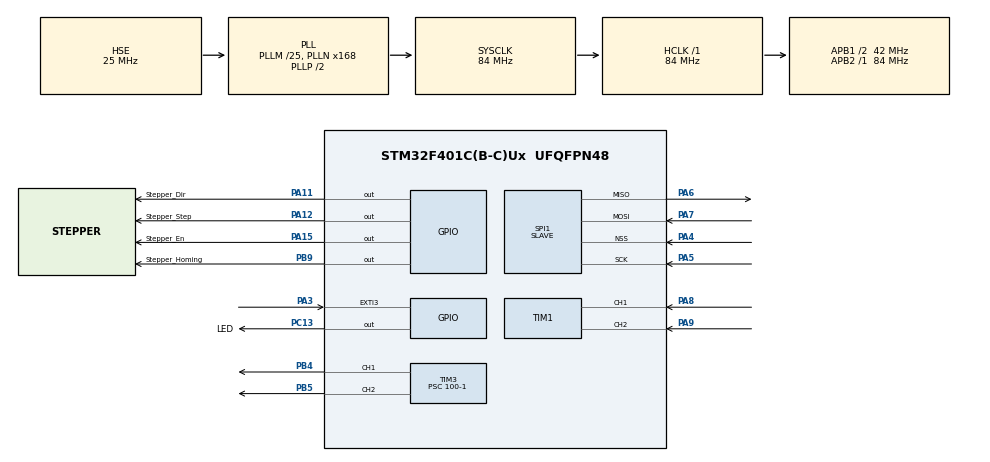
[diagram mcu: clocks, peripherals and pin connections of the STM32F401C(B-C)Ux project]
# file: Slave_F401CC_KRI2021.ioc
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Dma.Request0=SPI1_RX
Dma.SPI1_RX.0.Direction=DMA_PERIPH_TO_MEMORY
Dma.SPI1_RX.0.FIFOMode=DMA_FIFOMODE_DISABLE
Dma.SPI1_RX.0.Instance=DMA2_Stream0
Dma.SPI1_RX.0.MemDataAlignment=DMA_MDATAALIGN_BYTE
Dma.SPI1_RX.0.MemInc=DMA_MINC_ENABLE
Dma.SPI1_RX.0.Mode=DMA_NORMAL
Dma.SPI1_RX.0.PeriphDataAlignment=DMA_PDATAALIGN_BYTE
Dma.SPI1_RX.0.PeriphInc=DMA_PINC_DISABLE
Dma.SPI1_RX.0.Priority=DMA_PRIORITY_VERY_HIGH
Mcu.Family=STM32F4
Mcu.Name=STM32F401C(B-C)Ux
Mcu.Package=UFQFPN48
NVIC.DMA2_Stream0_IRQn=true\:0\:0\:false\:false\:true\:false\:true\:true
NVIC.PriorityGroup=NVIC_PRIORITYGROUP_4
PA11.GPIO_Label=Stepper_Dir
PA11.Signal=GPIO_Output
PA12.GPIO_Label=Stepper_Step
PA12.Signal=GPIO_Output
PA13.Mode=Serial_Wire
PA13.Signal=SYS_JTMS-SWDIO
PA14.Mode=Serial_Wire
PA14.Signal=SYS_JTCK-SWCLK
PA15.GPIO_Label=Stepper_En
PA15.Signal=GPIO_Output
PA3.GPIO_ModeDefaultEXTI=GPIO_MODE_IT_FALLING
PA3.Signal=GPXTI3
PA4.Mode=NSS_Signal_Hard_Input
PA4.Signal=SPI1_NSS
PA5.Mode=Full_Duplex_Slave
PA5.Signal=SPI1_SCK
PA6.Mode=Full_Duplex_Slave
PA6.Signal=SPI1_MISO
PA7.Mode=Full_Duplex_Slave
PA7.Signal=SPI1_MOSI
PA8.GPIO_PuPd=GPIO_PULLUP
PA8.Signal=S_TIM1_CH1
PA9.GPIO_PuPd=GPIO_PULLUP
PA9.Signal=S_TIM1_CH2
PB4.Signal=S_TIM3_CH1
PB5.Signal=S_TIM3_CH2
PB9.GPIO_Label=Stepper_Homing
PB9.Signal=GPIO_Output
PC13-ANTI_TAMP.GPIO_Label=LED
PC13-ANTI_TAMP.Signal=GPIO_Output
PH0\ -\ OSC_IN.Mode=HSE-External-Oscillator
PH0\ -\ OSC_IN.Signal=RCC_OSC_IN
PH1\ -\ OSC_OUT.Mode=HSE-External-Oscillator
PH1\ -\ OSC_OUT.Signal=RCC_OSC_OUT
ProjectManager.HeapSize=0x200
ProjectManager.StackSize=0x400
ProjectManager.TargetToolchain=STM32CubeIDE
RCC.48MHZClocksFreq_Value=42000000
RCC.AHBFreq_Value=84000000
RCC.APB1CLKDivider=RCC_HCLK_DIV2
RCC.APB1Freq_Value=42000000
RCC.APB1TimFreq_Value=84000000
RCC.APB2Freq_Value=84000000
RCC.APB2TimFreq_Value=84000000
RCC.CortexFreq_Value=84000000
RCC.HCLKFreq_Value=84000000
RCC.HSE_VALUE=25000000
RCC.HSI_VALUE=16000000
RCC.LSE_VALUE=32768
RCC.PLLM=25
RCC.PLLN=168
RCC.PLLSourceVirtual=RCC_PLLSOURCE_HSE
RCC.SYSCLKFreq_VALUE=84000000
RCC.SYSCLKSource=RCC_SYSCLKSOURCE_PLLCLK
RCC.VCOOutputFreq_Value=168000000
SH.S_TIM1_CH1.0=TIM1_CH1,Encoder_Interface
SH.S_TIM1_CH2.0=TIM1_CH2,Encoder_Interface
SH.S_TIM3_CH1.0=TIM3_CH1,PWM Generation1 CH1
SH.S_TIM3_CH2.0=TIM3_CH2,PWM Generation2 CH2
SPI1.Direction=SPI_DIRECTION_2LINES
SPI1.Mode=SPI_MODE_SLAVE
SPI1.VirtualNSS=VM_NSSHARD
SPI1.VirtualType=VM_SLAVE
TIM3.Channel-PWM\ Generation1\ CH1=TIM_CHANNEL_1
TIM3.Channel-PWM\ Generation2\ CH2=TIM_CHANNEL_2
TIM3.Period=1000-1
TIM3.Prescaler=100-1
TIM9.Period=0xffff-1
TIM9.Prescaler=84-1
VP_TIM9_VS_ClockSourceINT.Mode=Internal
board=custom

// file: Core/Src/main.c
/* USER CODE BEGIN Header */
/**
  ******************************************************************************
  * @file           : main.c
  * @brief          : Main program body
  ******************************************************************************
  * @attention
  *
  * <h2><center>&copy; Copyright (c) 2021 STMicroelectronics.
  * All rights reserved.</center></h2>
  *
  * This software component is licensed by ST under BSD 3-Clause license,
  * the "License"; You may not use this file except in compliance with the
  * License. You may obtain a copy of the License at:
  *                        opensource.org/licenses/BSD-3-Clause
  *
  ******************************************************************************
  */
/* USER CODE END Header */
#include "main.h"

SPI_HandleTypeDef hspi1;
DMA_HandleTypeDef hdma_spi1_rx;

TIM_HandleTypeDef htim1;
TIM_HandleTypeDef htim3;
TIM_HandleTypeDef htim9;

/* USER CODE BEGIN PV */
volatile int32_t tim1_cnt=0;
volatile uint32_t direction;
volatile uint8_t bufferRx[4], bufferTX[9];
volatile uint8_t terima;
int16_t  e, laste, out, lastpos, ki=0, kp=10, kd=0, setPoint, kecmax=400, kecmin=60, Step=1064;
uint8_t pwm_maju, pwm_mundur, flag = 0, belok = 0, dir;
/* USER CODE END PV */

void SystemClock_Config(void);
static void MX_GPIO_Init(void);
static void MX_DMA_Init(void);
static void MX_SPI1_Init(void);
static void MX_TIM1_Init(void);
static void MX_TIM3_Init(void);
static void MX_TIM9_Init(void);
/* USER CODE BEGIN PFP */
void unpacking(SPI_HandleTypeDef *hspi);

/* USER CODE END PFP */

int main(void)
{
  /* USER CODE BEGIN 1 */
void delay(uint16_t delay){
__HAL_TIM_SET_COUNTER(&htim9, 0);
while(__HAL_TIM_GET_COUNTER(&htim9) < delay);
}
  /* USER CODE END 1 */

  /* MCU Configuration--------------------------------------------------------*/

  /* Reset of all peripherals, Initializes the Flash interface and the Systick. */
  HAL_Init();

  /* Configure the system clock */
  SystemClock_Config();

  /* Initialize all configured peripherals */
  MX_GPIO_Init();
  MX_DMA_Init();
  MX_SPI1_Init();
  MX_TIM1_Init();
  MX_TIM3_Init();
  MX_TIM9_Init();
  /* USER CODE BEGIN 2 */
  HAL_TIM_Encoder_Start(&htim1, TIM_CHANNEL_ALL);
  HAL_TIM_PWM_Start(&htim3, TIM_CHANNEL_1);
  HAL_TIM_PWM_Start(&htim3, TIM_CHANNEL_2);

  HAL_SPI_Receive_DMA(&hspi1, (uint8_t*)&bufferRx, 9);
  /* USER CODE END 2 */

  /* Infinite loop */
  while (1)
  {

    /* USER CODE BEGIN 3 */

	  if(belok == 1 && flag == 1){
	  HAL_GPIO_WritePin(Stepper_Dir_GPIO_Port, Stepper_Dir_Pin, GPIO_PIN_SET);
	  for(uint16_t x=0; x<1064/4; x++){
		  HAL_GPIO_WritePin(Stepper_Step_GPIO_Port, Stepper_Step_Pin, GPIO_PIN_SET);
		  HAL_Delay(1);
		  HAL_GPIO_WritePin(Stepper_Step_GPIO_Port, Stepper_Step_Pin, GPIO_PIN_RESET);
		  HAL_Delay(1);
	  	  }
	  flag = 2;
	  }

	  if(belok == 2 && flag == 2){
	  	  HAL_GPIO_WritePin(Stepper_Dir_GPIO_Port, Stepper_Dir_Pin, GPIO_PIN_RESET);
	  	  for(uint16_t x=0; x<1064/4; x++){
	  		  HAL_GPIO_WritePin(Stepper_Step_GPIO_Port, Stepper_Step_Pin, GPIO_PIN_SET);
	  		  HAL_Delay(1);
	  		  HAL_GPIO_WritePin(Stepper_Step_GPIO_Port, Stepper_Step_Pin, GPIO_PIN_RESET);
	  		  HAL_Delay(1);
	  	  	  }
	  	  flag = 1;
	  	  }

	  tim1_cnt = htim1.Instance -> CNT;
	  direction = !(__HAL_TIM_IS_TIM_COUNTING_DOWN(&htim1));

	  e = setPoint - tim1_cnt;
	  out = (kp * e) + (ki * (e + laste)) + (kd * (e - laste));
	  laste = e;

	  if (e>0){
		  pwm_maju = out;
		  if(pwm_maju>kecmax) pwm_maju = kecmax;
		  if(pwm_maju<kecmin) pwm_maju = kecmin;
		  pwm_mundur = 0;
		  htim3.Instance->CCR1 = pwm_maju;
		  htim3.Instance->CCR2 = 0;
	  }
	  else if (e<0){
		  pwm_mundur = -out;
		  if(pwm_mundur>kecmax) pwm_mundur = kecmax;
		  if(pwm_mundur<kecmin) pwm_mundur = kecmin;
		  pwm_maju = 0;
		  htim3.Instance->CCR1 = 0;
		  htim3.Instance->CCR2 = pwm_mundur;
	  }
	  else{
		  htim3.Instance->CCR1 = 0;
		  htim3.Instance->CCR2 = 0;
	  }

  }

  /* USER CODE END 3 */
}

void SystemClock_Config(void)
{
  RCC_OscInitTypeDef RCC_OscInitStruct = {0};
  RCC_ClkInitTypeDef RCC_ClkInitStruct = {0};

  /** Configure the main internal regulator output voltage
  */
  __HAL_RCC_PWR_CLK_ENABLE();
  __HAL_PWR_VOLTAGESCALING_CONFIG(PWR_REGULATOR_VOLTAGE_SCALE2);
  /** Initializes the RCC Oscillators according to the specified parameters
  * in the RCC_OscInitTypeDef structure.
  */
  RCC_OscInitStruct.OscillatorType = RCC_OSCILLATORTYPE_HSE;
  RCC_OscInitStruct.HSEState = RCC_HSE_ON;
  RCC_OscInitStruct.PLL.PLLState = RCC_PLL_ON;
  RCC_OscInitStruct.PLL.PLLSource = RCC_PLLSOURCE_HSE;
  RCC_OscInitStruct.PLL.PLLM = 25;
  RCC_OscInitStruct.PLL.PLLN = 168;
  RCC_OscInitStruct.PLL.PLLP = RCC_PLLP_DIV2;
  RCC_OscInitStruct.PLL.PLLQ = 4;
  if (HAL_RCC_OscConfig(&RCC_OscInitStruct) != HAL_OK)
  {
    Error_Handler();
  }
  /** Initializes the CPU, AHB and APB buses clocks
  */
  RCC_ClkInitStruct.ClockType = RCC_CLOCKTYPE_HCLK|RCC_CLOCKTYPE_SYSCLK
                              |RCC_CLOCKTYPE_PCLK1|RCC_CLOCKTYPE_PCLK2;
  RCC_ClkInitStruct.SYSCLKSource = RCC_SYSCLKSOURCE_PLLCLK;
  RCC_ClkInitStruct.AHBCLKDivider = RCC_SYSCLK_DIV1;
  RCC_ClkInitStruct.APB1CLKDivider = RCC_HCLK_DIV2;
  RCC_ClkInitStruct.APB2CLKDivider = RCC_HCLK_DIV1;

  if (HAL_RCC_ClockConfig(&RCC_ClkInitStruct, FLASH_LATENCY_2) != HAL_OK)
  {
    Error_Handler();
  }
}

static void MX_SPI1_Init(void)
{

  /* SPI1 parameter configuration*/
  hspi1.Instance = SPI1;
  hspi1.Init.Mode = SPI_MODE_SLAVE;
  hspi1.Init.Direction = SPI_DIRECTION_2LINES;
  hspi1.Init.DataSize = SPI_DATASIZE_8BIT;
  hspi1.Init.CLKPolarity = SPI_POLARITY_LOW;
  hspi1.Init.CLKPhase = SPI_PHASE_1EDGE;
  hspi1.Init.NSS = SPI_NSS_HARD_INPUT;
  hspi1.Init.FirstBit = SPI_FIRSTBIT_MSB;
  hspi1.Init.TIMode = SPI_TIMODE_DISABLE;
  hspi1.Init.CRCCalculation = SPI_CRCCALCULATION_DISABLE;
  hspi1.Init.CRCPolynomial = 10;
  if (HAL_SPI_Init(&hspi1) != HAL_OK)
  {
    Error_Handler();
  }

}

static void MX_TIM1_Init(void)
{

  TIM_Encoder_InitTypeDef sConfig = {0};
  TIM_MasterConfigTypeDef sMasterConfig = {0};

  htim1.Instance = TIM1;
  htim1.Init.Prescaler = 0;
  htim1.Init.CounterMode = TIM_COUNTERMODE_UP;
  htim1.Init.Period = 65535;
  htim1.Init.ClockDivision = TIM_CLOCKDIVISION_DIV1;
  htim1.Init.RepetitionCounter = 0;
  htim1.Init.AutoReloadPreload = TIM_AUTORELOAD_PRELOAD_DISABLE;
  sConfig.EncoderMode = TIM_ENCODERMODE_TI1;
  sConfig.IC1Polarity = TIM_ICPOLARITY_RISING;
  sConfig.IC1Selection = TIM_ICSELECTION_DIRECTTI;
  sConfig.IC1Prescaler = TIM_ICPSC_DIV1;
  sConfig.IC1Filter = 0;
  sConfig.IC2Polarity = TIM_ICPOLARITY_RISING;
  sConfig.IC2Selection = TIM_ICSELECTION_DIRECTTI;
  sConfig.IC2Prescaler = TIM_ICPSC_DIV1;
  sConfig.IC2Filter = 0;
  if (HAL_TIM_Encoder_Init(&htim1, &sConfig) != HAL_OK)
  {
    Error_Handler();
  }
  sMasterConfig.MasterOutputTrigger = TIM_TRGO_RESET;
  sMasterConfig.MasterSlaveMode = TIM_MASTERSLAVEMODE_DISABLE;
  if (HAL_TIMEx_MasterConfigSynchronization(&htim1, &sMasterConfig) != HAL_OK)
  {
    Error_Handler();
  }

}

static void MX_TIM3_Init(void)
{

  TIM_MasterConfigTypeDef sMasterConfig = {0};
  TIM_OC_InitTypeDef sConfigOC = {0};

  htim3.Instance = TIM3;
  htim3.Init.Prescaler = 100-1;
  htim3.Init.CounterMode = TIM_COUNTERMODE_UP;
  htim3.Init.Period = 1000-1;
  htim3.Init.ClockDivision = TIM_CLOCKDIVISION_DIV1;
  htim3.Init.AutoReloadPreload = TIM_AUTORELOAD_PRELOAD_DISABLE;
  if (HAL_TIM_PWM_Init(&htim3) != HAL_OK)
  {
    Error_Handler();
  }
  sMasterConfig.MasterOutputTrigger = TIM_TRGO_RESET;
  sMasterConfig.MasterSlaveMode = TIM_MASTERSLAVEMODE_DISABLE;
  if (HAL_TIMEx_MasterConfigSynchronization(&htim3, &sMasterConfig) != HAL_OK)
  {
    Error_Handler();
  }
  sConfigOC.OCMode = TIM_OCMODE_PWM1;
  sConfigOC.Pulse = 0;
  sConfigOC.OCPolarity = TIM_OCPOLARITY_HIGH;
  sConfigOC.OCFastMode = TIM_OCFAST_DISABLE;
  if (HAL_TIM_PWM_ConfigChannel(&htim3, &sConfigOC, TIM_CHANNEL_1) != HAL_OK)
  {
    Error_Handler();
  }
  if (HAL_TIM_PWM_ConfigChannel(&htim3, &sConfigOC, TIM_CHANNEL_2) != HAL_OK)
  {
    Error_Handler();
  }
  HAL_TIM_MspPostInit(&htim3);

}

static void MX_TIM9_Init(void)
{

  TIM_ClockConfigTypeDef sClockSourceConfig = {0};

  htim9.Instance = TIM9;
  htim9.Init.Prescaler = 84-1;
  htim9.Init.CounterMode = TIM_COUNTERMODE_UP;
  htim9.Init.Period = 0xffff-1;
  htim9.Init.ClockDivision = TIM_CLOCKDIVISION_DIV1;
  htim9.Init.AutoReloadPreload = TIM_AUTORELOAD_PRELOAD_DISABLE;
  if (HAL_TIM_Base_Init(&htim9) != HAL_OK)
  {
    Error_Handler();
  }
  sClockSourceConfig.ClockSource = TIM_CLOCKSOURCE_INTERNAL;
  if (HAL_TIM_ConfigClockSource(&htim9, &sClockSourceConfig) != HAL_OK)
  {
    Error_Handler();
  }

}

static void MX_DMA_Init(void)
{

  /* DMA controller clock enable */
  __HAL_RCC_DMA2_CLK_ENABLE();

  /* DMA interrupt init */
  /* DMA2_Stream0_IRQn interrupt configuration */
  HAL_NVIC_SetPriority(DMA2_Stream0_IRQn, 0, 0);
  HAL_NVIC_EnableIRQ(DMA2_Stream0_IRQn);

}

static void MX_GPIO_Init(void)
{
  GPIO_InitTypeDef GPIO_InitStruct = {0};

  /* GPIO Ports Clock Enable */
  __HAL_RCC_GPIOC_CLK_ENABLE();
  __HAL_RCC_GPIOH_CLK_ENABLE();
  __HAL_RCC_GPIOA_CLK_ENABLE();
  __HAL_RCC_GPIOB_CLK_ENABLE();

  /*Configure GPIO pin Output Level */
  HAL_GPIO_WritePin(LED_GPIO_Port, LED_Pin, GPIO_PIN_RESET);

  /*Configure GPIO pin Output Level */
  HAL_GPIO_WritePin(GPIOA, Stepper_Dir_Pin|Stepper_Step_Pin|Stepper_En_Pin, GPIO_PIN_RESET);

  /*Configure GPIO pin Output Level */
  HAL_GPIO_WritePin(Stepper_Homing_GPIO_Port, Stepper_Homing_Pin, GPIO_PIN_RESET);

  /*Configure GPIO pin : LED_Pin */
  GPIO_InitStruct.Pin = LED_Pin;
  GPIO_InitStruct.Mode = GPIO_MODE_OUTPUT_PP;
  GPIO_InitStruct.Pull = GPIO_NOPULL;
  GPIO_InitStruct.Speed = GPIO_SPEED_FREQ_LOW;
  HAL_GPIO_Init(LED_GPIO_Port, &GPIO_InitStruct);

  /*Configure GPIO pin : PA3 */
  GPIO_InitStruct.Pin = GPIO_PIN_3;
  GPIO_InitStruct.Mode = GPIO_MODE_IT_FALLING;
  GPIO_InitStruct.Pull = GPIO_NOPULL;
  HAL_GPIO_Init(GPIOA, &GPIO_InitStruct);

  /*Configure GPIO pins : Stepper_Dir_Pin Stepper_Step_Pin Stepper_En_Pin */
  GPIO_InitStruct.Pin = Stepper_Dir_Pin|Stepper_Step_Pin|Stepper_En_Pin;
  GPIO_InitStruct.Mode = GPIO_MODE_OUTPUT_PP;
  GPIO_InitStruct.Pull = GPIO_NOPULL;
  GPIO_InitStruct.Speed = GPIO_SPEED_FREQ_LOW;
  HAL_GPIO_Init(GPIOA, &GPIO_InitStruct);

  /*Configure GPIO pin : Stepper_Homing_Pin */
  GPIO_InitStruct.Pin = Stepper_Homing_Pin;
  GPIO_InitStruct.Mode = GPIO_MODE_OUTPUT_PP;
  GPIO_InitStruct.Pull = GPIO_NOPULL;
  GPIO_InitStruct.Speed = GPIO_SPEED_FREQ_LOW;
  HAL_GPIO_Init(Stepper_Homing_GPIO_Port, &GPIO_InitStruct);

}

/* USER CODE BEGIN 4 */
void unpacking(SPI_HandleTypeDef *hspi){
	setPoint = bufferRx[1]|(bufferRx[2]<<8)|(bufferRx[3]<<16)|(bufferRx[4]<<24);
	dir = bufferRx[0];
	kecmax = bufferRx[5]|(bufferRx[6]<<8);
	kecmin = bufferRx[7];
	belok = bufferRx[8];

}
/* USER CODE END 4 */

void Error_Handler(void)
{
  __disable_irq();
  while (1)
  {
  }
}

/************************ (C) COPYRIGHT STMicroelectronics *****END OF FILE****/
